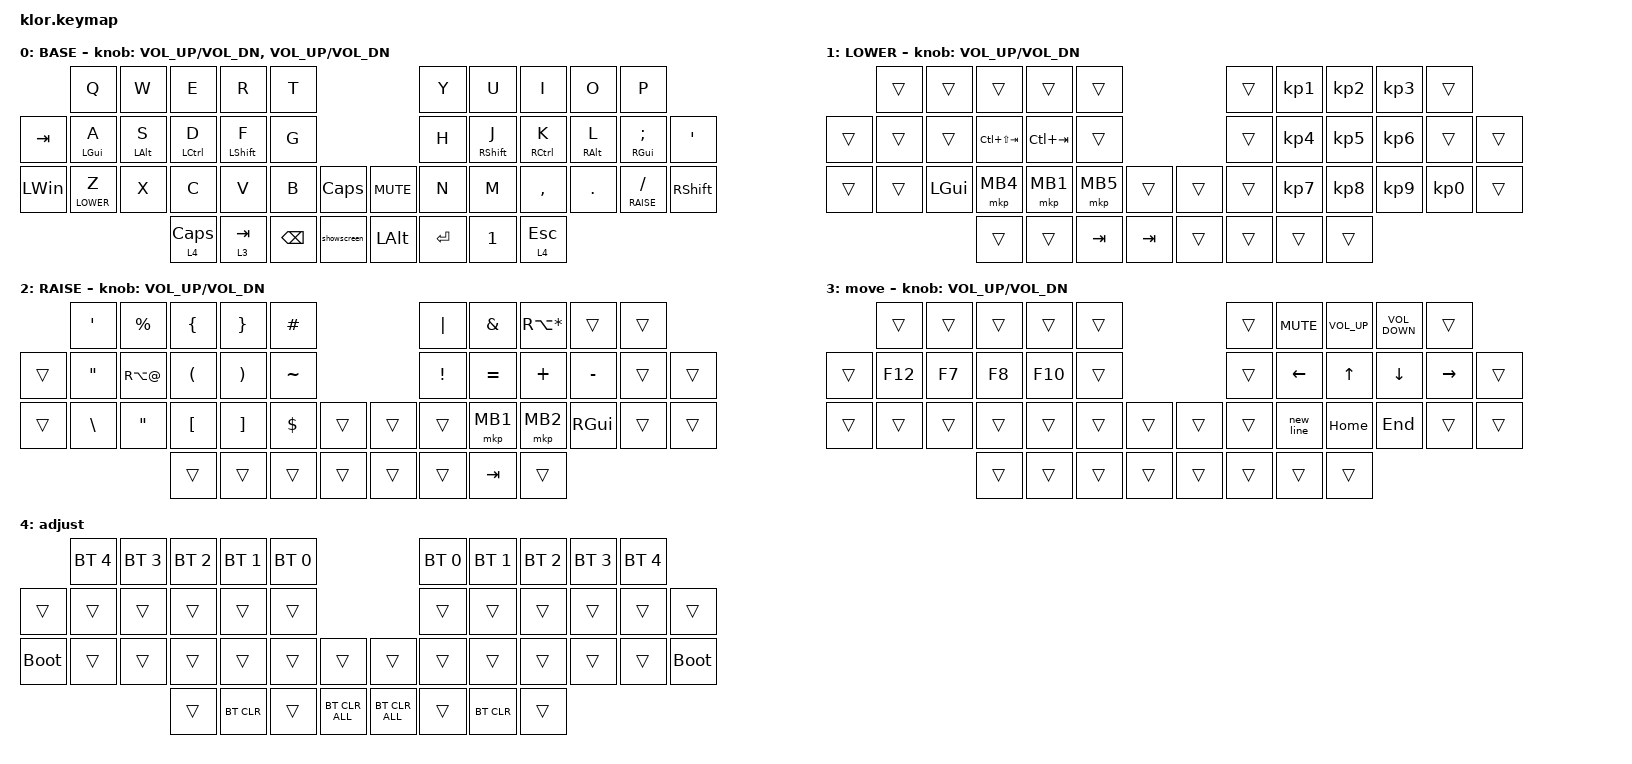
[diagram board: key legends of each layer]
//                               █         █    █            ▄▄▄▀▀▀▀▀▀▄▄▄        █▀▀▀▀▀▀▀▀▀▀█
//                               █        █     █          ▄▀            ▀▄      █          █
//                               █       █      █        ▄▀                ▀▄    █          █
//                               █      █       █        █                  █    █          █
//                               █     █        █       █                    █   █          █
//                               █    █         █       █                    █   █▄▄▄▄▄▄▄▄▄▄█
//                               █   █ █        █       █                    █   █      █
//                               █  █   █       █        █                  █    █       █
//                               █ █     █      █        ▀▄                ▄▀    █        █
//                               ██       █     █          ▀▄            ▄▀      █         █
//                               █         █    █▄▄▄▄▄▄▄▄    ▀▀▀▄▄▄▄▄▄▀▀▀        █          █
//
// ▄▄▄▄▄▄▄▄▄▄▄▄▄▄▄▄▄▄▄▄▄▄▄▄▄▄▄▄▄▄▄▄▄▄▄▄▄▄▄▄▄▄▄▄▄▄▄▄▄▄▄▄▄▄▄▄▄▄▄▄▄▄▄▄▄▄▄▄▄▄▄▄▄▄▄▄▄▄▄▄▄▄▄▄▄▄▄▄▄▄▄▄▄▄▄▄▄▄▄▄▄▄▄▄▄▄▄▄▄▄▄▄▄▄▄▄▄▄▄▄▄▄▄▄▄

#include <behaviors.dtsi>
#include <dt-bindings/zmk/bt.h>
#include <dt-bindings/zmk/keys.h>
#include <dt-bindings/zmk/pointing.h>

#define BASE   0
#define LOWER  1
#define RAISE  2
#define ADJUST 3

&mt {
    tapping-term-ms = <165>;
    quick-tap-ms = <100>;
    flavor = "balanced";
};

/ {
    behaviors {
        showscreen: showscreen {
            compatible = "zmk,behavior-tap-dance";
            label = "SHOWSCREEN";
            #binding-cells = <0>;
            bindings = <&kp LC(UP_ARROW)>, <&kp LG(UP_ARROW)>;
        };
    };

    combos {
        compatible = "zmk,combos";

        combo_esc {
            timeout-ms = <50>;
            key-positions = <6 7>;
            bindings = <&kp ESC>;
        };

        left_enter {
            bindings = <&kp ENTER>;
            key-positions = <31 32>;
        };

        lockscreen {
            bindings = <&kp LG(LC(Q))>;
            key-positions = <4 5>;
        };

        printscreen {
            bindings = <&kp LG(RS(N5))>;
            key-positions = <16 15>;
        };
    };

    macros {
        new_line: new_line {
            compatible = "zmk,behavior-macro";
            #binding-cells = <0>;
            bindings = <&kp LC(E) &kp ENTER>;
            label = "NEW_LINE";
        };
    };

    keymap {
        compatible = "zmk,keymap";

        // ▄▄▄▄▄▄▄▄▄▄▄▄▄▄▄▄▄▄▄▄▄▄▄▄▄▄▄▄▄▄▄▄▄▄▄▄▄▄▄▄▄▄▄▄▄▄▄▄▄▄▄▄▄▄▄▄▄▄▄▄▄▄▄▄▄▄▄▄▄▄▄▄▄▄▄▄▄▄▄▄▄▄▄▄▄▄▄▄▄▄▄▄▄▄▄▄▄▄▄▄▄▄▄▄▄▄▄▄▄▄▄▄▄▄▄▄▄▄▄▄▄▄▄▄▄▄▄▄▄▄▄▄▄▄▄▄▄▄▄▄▄▄

        base_layer {
            // ┌───────────────────────────────────────────────────────────┐

            label = "BASE";

            // └───────────────────────────────────────────────────────────┘
            /*           ┌─────────┬─────────┬─────────┬─────────┬─────────┐                    ┌─────────┬─────────┬─────────┬─────────┬─────────┐
             │    Q    │    W    │    F    │    P    │    G    │                    │    J    │    L    │    U    │    Y    │    ;    │   
   ┌─────────┼─────────┼─────────┼─────────┼─────────┼─────────┤                    ├─────────┼─────────┼─────────┼─────────┼─────────┼─────────┐
   │   TAB   │    A    │    R    │    S    │    T    │    D    │                    │    H    │    N    │    E    │    I    │    O    │    "    │
   ├─────────┼─────────┼─────────┼─────────┼─────────┼─────────┤╭────────╮╭────────╮├─────────┼─────────┼─────────┼─────────┼─────────┼─────────┤
   │   DEL   │    Z    │    X    │    C    │    V    │    B    ││  MUTE  ││PLY/PSE ││    K    │    M    │    ,    │    .    │    /    │    \    │
   └─────────┴─────────┴─────────┼─────────┼─────────┼─────────┼╰────────╯╰────────╯┼─────────┼─────────┼─────────┼─────────┴─────────┴─────────┘
                                 │  CTRL   │  LOWER  │  SPACE  │   ALT   ││ CMD/WIN │  ENTER  │  RAISE  │  BSPCE  │  
                                 └─────────┴─────────┴─────────┴─────────┘└─────────┴─────────┴─────────┴─────────┘ */

            bindings = <
          &kp Q        &kp W       &kp E        &kp R        &kp T                                      &kp Y      &kp U         &kp I        &kp O       &kp P
&kp TAB   &mt LGUI A   &mt LALT S  &mt LCTRL D  &mt LSHFT F  &kp G                                      &kp H      &mt RSHFT J   &mt RCTRL K  &mt RALT L  &mt RGUI SEMICOLON  &kp SQT
&kp LWIN  &lt LOWER Z  &kp X       &kp C        &kp V        &kp B          &kp CAPSLOCK  &kp K_MUTE    &kp N      &kp M         &kp COMMA    &kp PERIOD  &lt RAISE SLASH     &kp RSHFT
                                   &lt 4 CAPS   &lt 3 TAB    &kp BACKSPACE  &showscreen   &kp LEFT_ALT  &kp ENTER  &kp NUMBER_1  &lt 4 ESC
            >;

            sensor-bindings = <&inc_dec_kp C_VOL_UP C_VOL_DN &inc_dec_kp C_VOL_UP C_VOL_DN>;
        };

        // ▄▄▄▄▄▄▄▄▄▄▄▄▄▄▄▄▄▄▄▄▄▄▄▄▄▄▄▄▄▄▄▄▄▄▄▄▄▄▄▄▄▄▄▄▄▄▄▄▄▄▄▄▄▄▄▄▄▄▄▄▄▄▄▄▄▄▄▄▄▄▄▄▄▄▄▄▄▄▄▄▄▄▄▄▄▄▄▄▄▄▄▄▄▄▄▄▄▄▄▄▄▄▄▄▄▄▄▄▄▄▄▄▄▄▄▄▄▄▄▄▄▄▄▄▄▄▄▄▄▄▄▄▄▄▄▄▄▄▄▄▄▄

        lower_layer {
            // ┌───────────────────────────────────────────────────────────┐

            label = "LOWER";

            // └───────────────────────────────────────────────────────────┘
            /*           ┌─────────┬─────────┬─────────┬─────────┬─────────┐                    ┌─────────┬─────────┬─────────┬─────────┬─────────┐
             │         │         │    UP   │         │    {    │                    │    }    │    7    │    8    │    9    │    +    │
   ┌─────────┼─────────┼─────────┼─────────┼─────────┼─────────┤                    ├─────────┼─────────┼─────────┼─────────┼─────────┼─────────┐
   │         │         │   LEFT  │  DOWN   │  RIGHT  │    [    │                    │    ]    │    4    │    5    │    6    │    -    │         │
   ├─────────┼─────────┼─────────┼─────────┼─────────┼─────────┤╭────────╮╭────────╮├─────────┼─────────┼─────────┼─────────┼─────────┼─────────┤
   │         │         │   P UP  │ C LOCK  │ P DOWN  │    (    ││        ││        ││    )    │    1    │    2    │    3    │    *    │         │
   └─────────┴─────────┴─────────┼─────────┼─────────┼─────────┼╰────────╯╰────────╯┼─────────┼─────────┼─────────┼─────────┴─────────┴─────────┘
                                 │         │         │         │         ││         │         │    0    │         │  
                                 └─────────┴─────────┴─────────┴─────────┘└─────────┴─────────┴─────────┴─────────┘ */

            bindings = <
        &trans  &trans    &trans           &trans       &trans                     &trans  &kp KP_N1  &kp KP_N2  &kp KP_N3  &trans
&trans  &trans  &trans    &kp LC(LS(TAB))  &kp LC(TAB)  &trans                     &trans  &kp KP_N4  &kp KP_N5  &kp KP_N6  &trans     &trans
&trans  &trans  &kp LGUI  &mkp MB4         &mkp MB1     &mkp MB5  &trans   &trans  &trans  &kp KP_N7  &kp KP_N8  &kp KP_N9  &kp KP_N0  &trans
                          &trans           &trans       &kp TAB   &kp TAB  &trans  &trans  &trans     &trans
            >;

            sensor-bindings = <&inc_dec_kp C_VOL_UP C_VOL_DN>;
        };

        // ▄▄▄▄▄▄▄▄▄▄▄▄▄▄▄▄▄▄▄▄▄▄▄▄▄▄▄▄▄▄▄▄▄▄▄▄▄▄▄▄▄▄▄▄▄▄▄▄▄▄▄▄▄▄▄▄▄▄▄▄▄▄▄▄▄▄▄▄▄▄▄▄▄▄▄▄▄▄▄▄▄▄▄▄▄▄▄▄▄▄▄▄▄▄▄▄▄▄▄▄▄▄▄▄▄▄▄▄▄▄▄▄▄▄▄▄▄▄▄▄▄▄▄▄▄

        raise_layer {
            // ┌───────────────────────────────────────────────────────────┐

            label = "RAISE";

            // └───────────────────────────────────────────────────────────┘
            /*           ┌─────────┬─────────┬─────────┬─────────┬─────────┐                    ┌─────────┬─────────┬─────────┬─────────┬─────────┐
             │         │         │         │         │         │                    │         │         │    Ü    │         │         │
   ┌─────────┼─────────┼─────────┼─────────┼─────────┼─────────┤                    ├─────────┼─────────┼─────────┼─────────┼─────────┼─────────┐
   │    Ä    │         │    ß    │         │         │         │                    │         │         │         │         │    Ö    │         │
   ├─────────┼─────────┼─────────┼─────────┼─────────┼─────────┤╭────────╮╭────────╮├─────────┼─────────┼─────────┼─────────┼─────────┼─────────┤
   │         │         │         │         │         │         ││        ││        ││         │         │         │         │         │         │
   └─────────┴─────────┴─────────┼─────────┼─────────┼─────────┼╰────────╯╰────────╯┼─────────┼─────────┼─────────┼─────────┴─────────┴─────────┘
                                 │ ADJUST  │         │         │         ││         │         │         │         │  
                                 └─────────┴─────────┴─────────┴─────────┘└─────────┴─────────┴─────────┴─────────┘ */

            bindings = <
        &kp SINGLE_QUOTE   &kp PERCENT        &kp LEFT_BRACE        &kp RIGHT_BRACE        &kp HASH                    &kp PIPE         &kp AMPERSAND  &kp RA(ASTERISK)  &trans         &trans
&trans  &kp DOUBLE_QUOTES  &kp RA(AT_SIGN)    &kp LEFT_PARENTHESIS  &kp RIGHT_PARENTHESIS  &kp TILDE                   &kp EXCLAMATION  &kp EQUAL      &kp PLUS          &kp MINUS      &trans  &trans
&trans  &kp BACKSLASH      &kp DOUBLE_QUOTES  &kp LEFT_BRACKET      &kp RIGHT_BRACKET      &kp DOLLAR  &trans  &trans  &trans           &mkp MB1       &mkp MB2          &kp RIGHT_GUI  &trans  &trans
                                              &trans                &trans                 &trans      &trans  &trans  &trans           &kp TAB        &trans
            >;

            sensor-bindings = <&inc_dec_kp C_VOL_UP C_VOL_DN>;
        };

        // ▄▄▄▄▄▄▄▄▄▄▄▄▄▄▄▄▄▄▄▄▄▄▄▄▄▄▄▄▄▄▄▄▄▄▄▄▄▄▄▄▄▄▄▄▄▄▄▄▄▄▄▄▄▄▄▄▄▄▄▄▄▄▄▄▄▄▄▄▄▄▄▄▄▄▄▄▄▄▄▄▄▄▄▄▄▄▄▄▄▄▄▄▄▄▄▄▄▄▄▄▄▄▄▄▄▄▄▄▄▄▄▄▄▄▄▄▄▄▄▄▄▄▄▄▄

        move {
            // ┌───────────────────────────────────────────────────────────┐

            label = "move";

            // └───────────────────────────────────────────────────────────┘
            /*           ┌─────────┬─────────┬─────────┬─────────┬─────────┐                    ┌─────────┬─────────┬─────────┬─────────┬─────────┐
             │         │         │         │         │         │                    │         │         │         │         │         │
   ┌─────────┼─────────┼─────────┼─────────┼─────────┼─────────┤                    ├─────────┼─────────┼─────────┼─────────┼─────────┼─────────┐
   │         │         │         │         │         │         │                    │         │         │         │         │         │         │
   ├─────────┼─────────┼─────────┼─────────┼─────────┼─────────┤╭────────╮╭────────╮├─────────┼─────────┼─────────┼─────────┼─────────┼─────────┤
   │         │         │         │         │         │         ││        ││        ││         │         │         │         │         │         │
   └─────────┴─────────┴─────────┼─────────┼─────────┼─────────┼╰────────╯╰────────╯┼─────────┼─────────┼─────────┼─────────┴─────────┴─────────┘
                                 │         │         │         │         ││         │         │         │         │  
                                 └─────────┴─────────┴─────────┴─────────┘└─────────┴─────────┴─────────┴─────────┘ */

            bindings = <
        &trans   &trans  &trans  &trans   &trans                  &trans  &kp K_MUTE  &kp C_VOLUME_UP  &kp C_VOLUME_DOWN  &trans
&trans  &kp F12  &kp F7  &kp F8  &kp F10  &trans                  &trans  &kp LEFT    &kp UP_ARROW     &kp DOWN_ARROW     &kp RIGHT  &trans
&trans  &trans   &trans  &trans  &trans   &trans  &trans  &trans  &trans  &new_line   &kp HOME         &kp END            &trans     &trans
                         &trans  &trans   &trans  &trans  &trans  &trans  &trans      &trans
            >;

            sensor-bindings = <&inc_dec_kp C_VOL_UP C_VOL_DN>;
        };

        adjust {
            bindings = <
             &bt BT_SEL 4  &bt BT_SEL 3  &bt BT_SEL 2  &bt BT_SEL 1  &bt BT_SEL 0                                  &bt BT_SEL 0  &bt BT_SEL 1  &bt BT_SEL 2  &bt BT_SEL 3  &bt BT_SEL 4
&trans       &trans        &trans        &trans        &trans        &trans                                        &trans        &trans        &trans        &trans        &trans        &trans
&bootloader  &trans        &trans        &trans        &trans        &trans        &trans          &trans          &trans        &trans        &trans        &trans        &trans        &bootloader
                                         &trans        &bt BT_CLR    &trans        &bt BT_CLR_ALL  &bt BT_CLR_ALL  &trans        &bt BT_CLR    &trans
            >;
        };
    };
};
